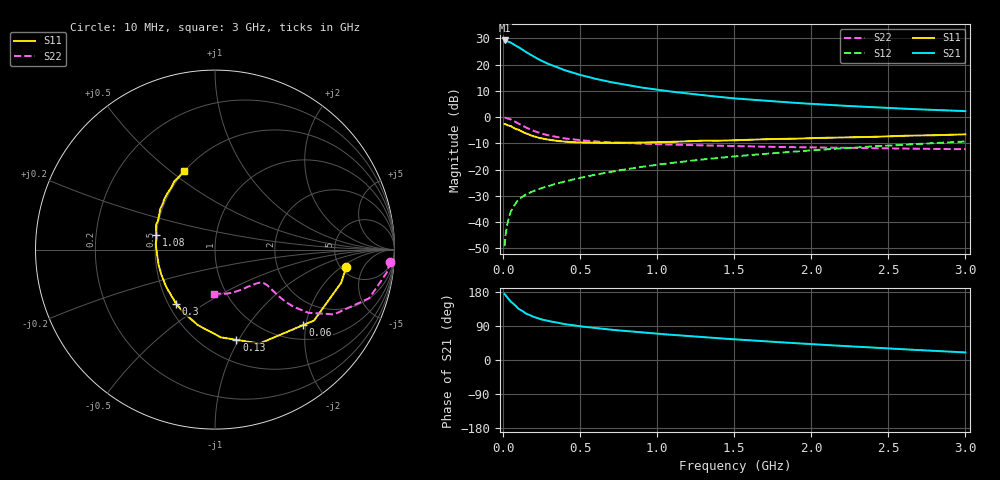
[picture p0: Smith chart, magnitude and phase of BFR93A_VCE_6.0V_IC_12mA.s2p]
! Infineon Technologies  Discrete & RF Semiconductors
! BFR93A
! VCE =  6.0 V,  IC =  12 mA
! Common Emitter S-Parameters:  Nov 2015
# GHz  S  MA  R  50
!  f  S11  S21  S12  S22
! GHz  MAG  ANG  MAG  ANG  MAG  ANG  MAG  ANG
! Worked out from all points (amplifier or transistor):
!   180 points, 10 MHz to 3 GHz, reference 50 ohm
!   highest |S21| = 29.2 dB at 10 MHz (marker M1)
!   |S21| within 3 dB of that: start of sweep to 112.1 MHz
!   unconditionally stable (mu >= 1): 554.3 MHz to 2.581 GHz
!   at 160 MHz: K = 0.55, MSG = 26.7 dB, |S12| = -29.1 dB
!   at 1.22 GHz: K = 1.08, MAG = 11.0 dB, |S12| = -16.6 dB
!   at 3 GHz: K = 0.96, MSG = 5.8 dB, |S12| = -9.3 dB
!   S11 on the Smith chart (normalised r, x): 10 MHz: 5.63, -2.35; 60 MHz: 1.33, -1.93; 130 MHz: 0.71, -0.98; 300 MHz: 0.55, -0.38; 1.08 GHz: 0.50, +0.09; 3 GHz: 0.50, +0.56
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0.01  0.7381 -7.4  28.77 174.1  0.0035 85.7  0.9784 -3.9
0.02  0.7269 -14.7  28.36 168.7  0.0069 82.4  0.9664 -7.5
0.05  0.6786 -35.6  26.26 153.9  0.0159 74.1  0.9011 -17.5
0.06  0.6467 -40.6  25.12 150.8  0.018 71.3  0.8695 -19.4
0.1  0.5793 -64.6  21.49 135.2  0.0269 64.6  0.7546 -28.6
0.13  0.5167 -76.6  18.8 128.1  0.0311 61.5  0.679 -31.6
0.15  0.4902 -86.1  17.2 122.1  0.0339 59.8  0.6298 -34.0
0.2  0.4316 -102.7  14.06 113.5  0.0395 58.8  0.5452 -36.0
0.24  0.3994 -113.1  12.22 108.3  0.0435 58.8  0.4978 -36.4
0.26  0.3882 -117.8  11.44 106.0  0.0455 59.0  0.4777 -36.4
0.3  0.3711 -125.8  10.1 102.1  0.0494 59.7  0.445 -36.2
0.4  0.342 -142.7  7.802 94.6  0.0594 61.7  0.393 -35.3
0.52  0.328 -157.4  6.152 88.0  0.0718 63.1  0.36 -34.4
0.6  0.3255 -165.1  5.358 84.2  0.0803 64.0  0.3442 -34.2
0.7  0.3236 -172.4  4.634 79.9  0.0912 64.5  0.3313 -34.5
0.88  0.3299 176.0  3.738 73.5  0.1107 64.9  0.314 -35.8
1.02  0.3328 168.7  3.256 68.8  0.1263 64.5  0.3053 -37.5
1.08  0.3369 165.8  3.091 66.9  0.1327 64.2  0.3014 -38.5
1.52  0.3637 149.1  2.25 54.1  0.1807 61.6  0.2796 -46.8
2.02  0.3998 134.7  1.774 41.5  0.2352 57.5  0.2647 -59.0
2.52  0.4331 122.8  1.482 30.1  0.2898 52.5  0.2546 -73.5
3  0.4701 111.6  1.3 20.0  0.3434 47.2  0.2454 -90.8
